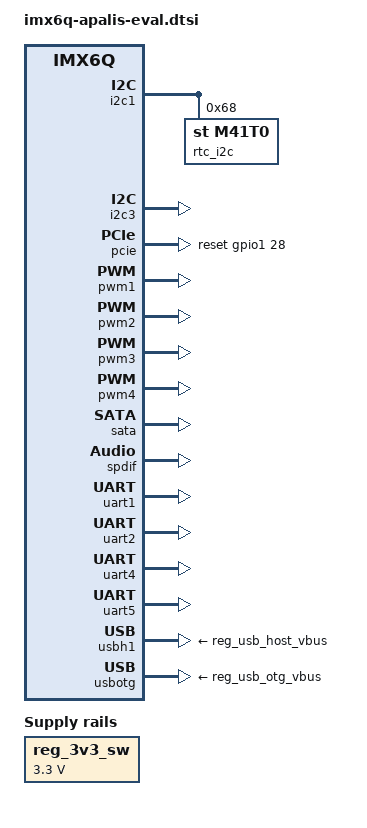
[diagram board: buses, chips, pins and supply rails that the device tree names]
// SPDX-License-Identifier: GPL-2.0-or-later OR MIT
/*
 * Copyright 2014-2024 Toradex
 */

#include <dt-bindings/gpio/gpio.h>
#include <dt-bindings/input/input.h>
#include <dt-bindings/interrupt-controller/irq.h>
#include "imx6q.dtsi"
#include "imx6qdl-apalis.dtsi"

/ {
	aliases {
		i2c0 = &i2c1;
		i2c1 = &i2c3;
		i2c2 = &i2c2;
		rtc0 = &rtc_i2c;
		rtc1 = &snvs_rtc;
	};

	chosen {
		stdout-path = "serial0:115200n8";
	};

	reg_3v3_sw: regulator-3v3-sw {
		compatible = "regulator-fixed";
		regulator-always-on;
		regulator-max-microvolt = <3300000>;
		regulator-min-microvolt = <3300000>;
		regulator-name = "3.3V_SW";
	};
};

&i2c1 {
	#address-cells = <1>;
	#size-cells = <0>;
	status = "okay";

	/* M41T0M6 real time clock on carrier board */
	rtc_i2c: rtc@68 {
		compatible = "st,m41t0";
		reg = <0x68>;
	};
};

/*
 * I2C3_SDA/SCL (CAM) on MXM3 pin 201/203 (e.g. camera sensor on carrier
 * board)
 */
&i2c3 {
	status = "okay";
};

&pcie {
	pinctrl-names = "default";
	pinctrl-0 = <&pinctrl_reset_moci>;
	/* active-high meaning opposite of regular PERST# active-low polarity */
	reset-gpio = <&gpio1 28 GPIO_ACTIVE_HIGH>;
	reset-gpio-active-high;
};

&pwm1 {
	status = "okay";
};

&pwm2 {
	status = "okay";
};

&pwm3 {
	status = "okay";
};

&pwm4 {
	status = "okay";
};

&reg_usb_host_vbus {
	status = "okay";
};

&reg_usb_otg_vbus {
	status = "okay";
};

&sata {
	status = "okay";
};

&spdif {
	status = "okay";
};

&uart1 {
	status = "okay";
};

&uart2 {
	status = "okay";
};

&uart4 {
	status = "okay";
};

&uart5 {
	status = "okay";
};

&usbh1 {
	disable-over-current;
	vbus-supply = <&reg_usb_host_vbus>;
	status = "okay";
};

&usbotg {
	disable-over-current;
	vbus-supply = <&reg_usb_otg_vbus>;
	status = "okay";
};
